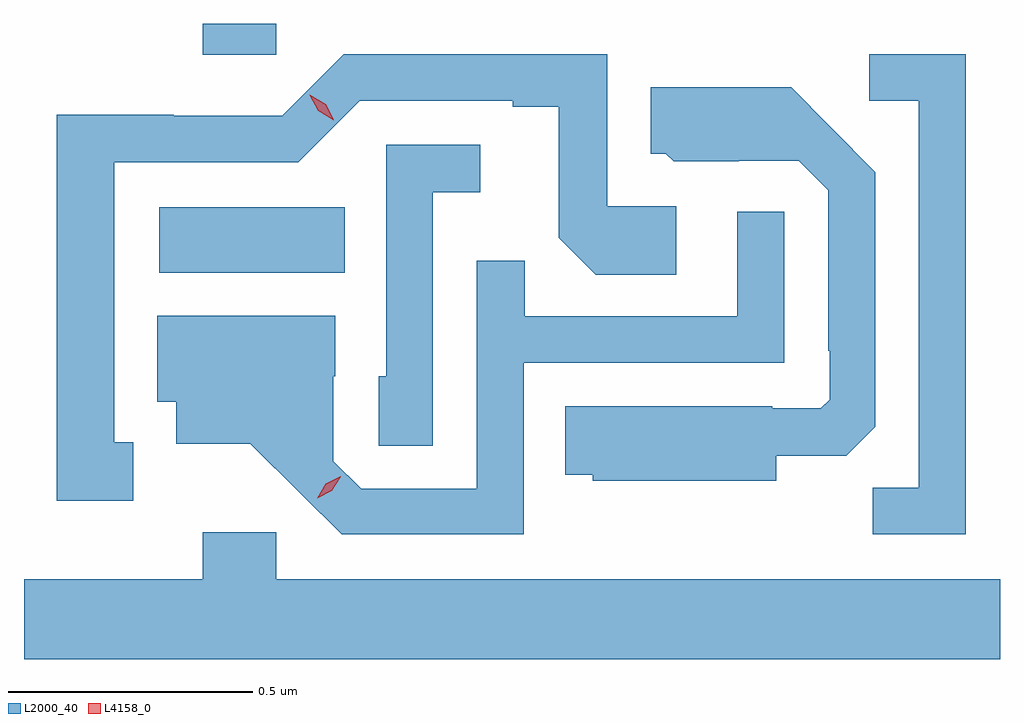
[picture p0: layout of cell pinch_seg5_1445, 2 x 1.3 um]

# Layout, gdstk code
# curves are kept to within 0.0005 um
import gdstk
lib = gdstk.Library(unit=1e-6, precision=1e-09)
def R(c, l, rs):  # rectangles x0, y0, x1, y1
    for r in rs: c.add(gdstk.rectangle(r[:2], r[2:], *l))
def P(c, l, *ps):  # polygons
    for p in ps: c.add(gdstk.Polygon(p, *l))
L2000_40 = (2000, 40)
L4158_0 = (4158, 0)

pinch_seg5_1445 = lib.new_cell('pinch_seg5_1445')
R(pinch_seg5_1445, L2000_40, [(157.8,904.172,158.18,904.306), (157.889,904.619,158.04,904.682)])
P(pinch_seg5_1445, L2000_40, [(159.453,904.62),(159.255,904.62),(159.255,904.524),(159.357,904.524),(159.357,903.731),(159.262,903.731),(159.262,903.636),(159.453,903.636)],
  [(157.747,903.825),(157.708,903.825),(157.708,904.398),(158.085,904.398),(158.211,904.524),(158.525,904.524),(158.525,904.512),(158.619,904.512),(158.619,904.244),(158.695,904.168),(158.86,904.168),(158.86,904.308),(158.718,904.308),(158.718,904.62),(158.178,904.62),(158.052,904.494),(157.83,904.494),(157.83,904.496),(157.59,904.496),(157.59,903.705),(157.747,903.705)],
  [(159.064,903.797),(159.208,903.797),(159.267,903.856),(159.267,904.378),(159.095,904.552),(158.807,904.552),(158.807,904.416),(158.838,904.416),(158.854,904.4),(158.988,904.4),(158.988,904.401),(159.111,904.401),(159.171,904.341),(159.171,904.012),(159.174,904.012),(159.174,903.912),(159.156,903.894),(159.056,903.894),(159.056,903.898),(158.632,903.898),(158.632,903.758),(158.688,903.758),(158.688,903.746),(159.064,903.746)],
  [(158.361,904.337),(158.458,904.337),(158.458,904.434),(158.265,904.434),(158.265,903.96),(158.25,903.96),(158.25,903.817),(158.361,903.817)],
  [(158.547,903.987),(159.081,903.987),(159.081,904.297),(158.985,904.297),(158.985,904.083),(158.549,904.083),(158.549,904.196),(158.451,904.196),(158.451,903.729),(158.214,903.729),(158.157,903.786),(158.157,903.96),(158.161,903.96),(158.161,904.084),(157.796,904.084),(157.796,903.908),(157.835,903.908),(157.835,903.821),(157.987,903.821),(158.174,903.636),(158.547,903.636)],
  [(159.523,903.544),(158.04,903.544),(158.04,903.64),(157.889,903.64),(157.889,903.544),(157.523,903.544),(157.523,903.38),(159.523,903.38)])
P(pinch_seg5_1445, L4158_0, [(158.124,903.71),(158.124,903.71),(158.141,903.74),(158.172,903.755),(158.172,903.755),(158.172,903.754),(158.154,903.725),(158.124,903.71)],
  [(158.158,904.484),(158.126,904.504),(158.109,904.536),(158.109,904.537),(158.109,904.537),(158.141,904.517),(158.158,904.485),(158.158,904.484)])

lib.write_gds('pinch_seg5_1445.gds')
